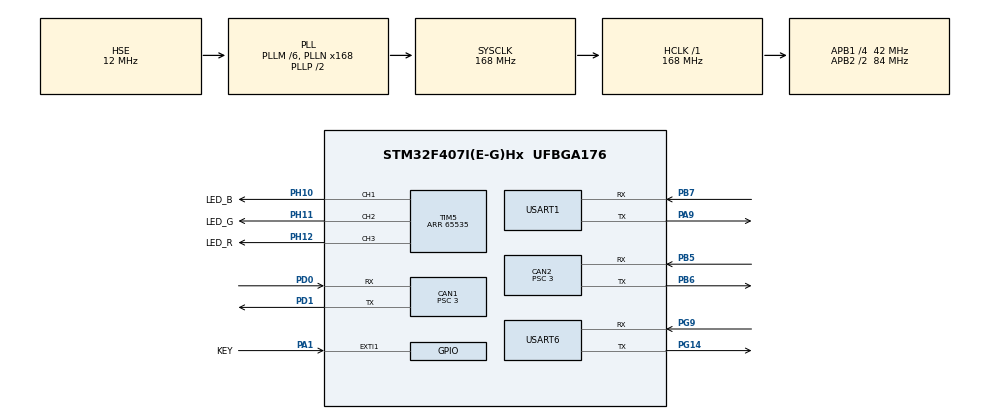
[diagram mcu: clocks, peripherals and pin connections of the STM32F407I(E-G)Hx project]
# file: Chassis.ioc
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CAN1.BS1=CAN_BS1_10TQ
CAN1.BS2=CAN_BS2_3TQ
CAN1.CalculateBaudRate=1000000
CAN1.CalculateTimeBit=1000
CAN1.CalculateTimeQuantum=71.42857142857143
CAN1.Prescaler=3
CAN2.BS1=CAN_BS1_10TQ
CAN2.BS2=CAN_BS2_3TQ
CAN2.CalculateBaudRate=1000000
CAN2.CalculateTimeBit=1000
CAN2.CalculateTimeQuantum=71.42857142857143
CAN2.Prescaler=3
Dma.Request0=USART6_RX
Dma.Request1=USART6_TX
Dma.Request2=USART1_RX
Dma.Request3=USART1_TX
Dma.USART1_RX.2.Direction=DMA_PERIPH_TO_MEMORY
Dma.USART1_RX.2.FIFOMode=DMA_FIFOMODE_DISABLE
Dma.USART1_RX.2.Instance=DMA2_Stream2
Dma.USART1_RX.2.MemDataAlignment=DMA_MDATAALIGN_BYTE
Dma.USART1_RX.2.MemInc=DMA_MINC_ENABLE
Dma.USART1_RX.2.Mode=DMA_NORMAL
Dma.USART1_RX.2.PeriphDataAlignment=DMA_PDATAALIGN_BYTE
Dma.USART1_RX.2.PeriphInc=DMA_PINC_DISABLE
Dma.USART1_RX.2.Priority=DMA_PRIORITY_HIGH
Dma.USART1_TX.3.Direction=DMA_MEMORY_TO_PERIPH
Dma.USART1_TX.3.FIFOMode=DMA_FIFOMODE_DISABLE
Dma.USART1_TX.3.Instance=DMA2_Stream7
Dma.USART1_TX.3.MemDataAlignment=DMA_MDATAALIGN_BYTE
Dma.USART1_TX.3.MemInc=DMA_MINC_ENABLE
Dma.USART1_TX.3.Mode=DMA_NORMAL
Dma.USART1_TX.3.PeriphDataAlignment=DMA_PDATAALIGN_BYTE
Dma.USART1_TX.3.PeriphInc=DMA_PINC_DISABLE
Dma.USART1_TX.3.Priority=DMA_PRIORITY_MEDIUM
Dma.USART6_RX.0.Direction=DMA_PERIPH_TO_MEMORY
Dma.USART6_RX.0.FIFOMode=DMA_FIFOMODE_DISABLE
Dma.USART6_RX.0.Instance=DMA2_Stream1
Dma.USART6_RX.0.MemDataAlignment=DMA_MDATAALIGN_BYTE
Dma.USART6_RX.0.MemInc=DMA_MINC_ENABLE
Dma.USART6_RX.0.Mode=DMA_NORMAL
Dma.USART6_RX.0.PeriphDataAlignment=DMA_PDATAALIGN_BYTE
Dma.USART6_RX.0.PeriphInc=DMA_PINC_DISABLE
Dma.USART6_RX.0.Priority=DMA_PRIORITY_HIGH
Dma.USART6_TX.1.Direction=DMA_MEMORY_TO_PERIPH
Dma.USART6_TX.1.FIFOMode=DMA_FIFOMODE_DISABLE
Dma.USART6_TX.1.Instance=DMA2_Stream6
Dma.USART6_TX.1.MemDataAlignment=DMA_MDATAALIGN_BYTE
Dma.USART6_TX.1.MemInc=DMA_MINC_ENABLE
Dma.USART6_TX.1.Mode=DMA_NORMAL
Dma.USART6_TX.1.PeriphDataAlignment=DMA_PDATAALIGN_BYTE
Dma.USART6_TX.1.PeriphInc=DMA_PINC_DISABLE
Dma.USART6_TX.1.Priority=DMA_PRIORITY_MEDIUM
FREERTOS.Tasks01=defaultTask,0,128,StartDefaultTask,Default,NULL,Dynamic,NULL,NULL
FREERTOS.configTOTAL_HEAP_SIZE=24576
Mcu.Family=STM32F4
Mcu.Name=STM32F407I(E-G)Hx
Mcu.Package=UFBGA176
NVIC.CAN1_RX0_IRQn=true\:5\:0\:false\:false\:true\:true\:true\:true\:true
NVIC.CAN2_RX0_IRQn=true\:5\:0\:false\:false\:true\:true\:true\:true\:true
NVIC.DMA2_Stream1_IRQn=true\:5\:0\:false\:false\:true\:true\:false\:true\:true
NVIC.DMA2_Stream2_IRQn=true\:5\:0\:false\:false\:true\:true\:false\:true\:true
NVIC.DMA2_Stream6_IRQn=true\:5\:0\:false\:false\:true\:true\:false\:true\:true
NVIC.DMA2_Stream7_IRQn=true\:5\:0\:false\:false\:true\:true\:false\:true\:true
NVIC.PriorityGroup=NVIC_PRIORITYGROUP_4
NVIC.USART1_IRQn=true\:6\:0\:true\:false\:true\:true\:true\:true\:true
NVIC.USART6_IRQn=true\:5\:0\:false\:false\:true\:true\:true\:true\:true
PA1.GPIO_Label=KEY
PA1.GPIO_PuPd=GPIO_PULLUP
PA1.Signal=GPXTI1
PA13.Mode=Serial_Wire
PA13.Signal=SYS_JTMS-SWDIO
PA14.Mode=Serial_Wire
PA14.Signal=SYS_JTCK-SWCLK
PA9.Mode=Asynchronous
PA9.Signal=USART1_TX
PB5.Mode=CAN_Activate
PB5.Signal=CAN2_RX
PB6.Mode=CAN_Activate
PB6.Signal=CAN2_TX
PB7.Mode=Asynchronous
PB7.Signal=USART1_RX
PD0.Mode=CAN_Activate
PD0.Signal=CAN1_RX
PD1.Mode=CAN_Activate
PD1.Signal=CAN1_TX
PG14.Mode=Asynchronous
PG14.Signal=USART6_TX
PG9.Mode=Asynchronous
PG9.Signal=USART6_RX
PH0-OSC_IN.Mode=HSE-External-Oscillator
PH0-OSC_IN.Signal=RCC_OSC_IN
PH1-OSC_OUT.Mode=HSE-External-Oscillator
PH1-OSC_OUT.Signal=RCC_OSC_OUT
PH10.GPIO_Label=LED_B
PH10.GPIO_PuPd=GPIO_PULLUP
PH10.GPIO_Speed=GPIO_SPEED_FREQ_HIGH
PH10.Signal=S_TIM5_CH1
PH11.GPIO_Label=LED_G
PH11.GPIO_PuPd=GPIO_PULLUP
PH11.GPIO_Speed=GPIO_SPEED_FREQ_HIGH
PH11.Signal=S_TIM5_CH2
PH12.GPIO_Label=LED_R
PH12.GPIO_PuPd=GPIO_PULLUP
PH12.GPIO_Speed=GPIO_SPEED_FREQ_HIGH
PH12.Signal=S_TIM5_CH3
ProjectManager.HeapSize=0x200
ProjectManager.StackSize=0x400
ProjectManager.TargetToolchain=MDK-ARM V5
RCC.48MHZClocksFreq_Value=84000000
RCC.AHBFreq_Value=168000000
RCC.APB1CLKDivider=RCC_HCLK_DIV4
RCC.APB1Freq_Value=42000000
RCC.APB1TimFreq_Value=84000000
RCC.APB2CLKDivider=RCC_HCLK_DIV2
RCC.APB2Freq_Value=84000000
RCC.APB2TimFreq_Value=168000000
RCC.CortexFreq_Value=168000000
RCC.EnbaleCSS=true
RCC.HCLKFreq_Value=168000000
RCC.HSE_VALUE=12000000
RCC.HSI_VALUE=16000000
RCC.LSE_VALUE=32768
RCC.PLLM=6
RCC.PLLN=168
RCC.PLLSourceVirtual=RCC_PLLSOURCE_HSE
RCC.SYSCLKFreq_VALUE=168000000
RCC.SYSCLKSource=RCC_SYSCLKSOURCE_PLLCLK
RCC.VCOOutputFreq_Value=336000000
SH.S_TIM5_CH1.0=TIM5_CH1,PWM Generation1 CH1
SH.S_TIM5_CH2.0=TIM5_CH2,PWM Generation2 CH2
SH.S_TIM5_CH3.0=TIM5_CH3,PWM Generation3 CH3
TIM5.Channel-PWM\ Generation1\ CH1=TIM_CHANNEL_1
TIM5.Channel-PWM\ Generation2\ CH2=TIM_CHANNEL_2
TIM5.Channel-PWM\ Generation3\ CH3=TIM_CHANNEL_3
TIM5.Period=65535
USART1.VirtualMode=VM_ASYNC
USART6.VirtualMode=VM_ASYNC
VP_FREERTOS_VS_CMSIS_V1.Mode=CMSIS_V1
VP_TIM5_VS_ClockSourceINT.Mode=Internal
board=custom

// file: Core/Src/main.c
/* USER CODE BEGIN Header */
/**
  ******************************************************************************
  * @file           : main.c
  * @brief          : Main program body
  ******************************************************************************
  * @attention
  *
  * Copyright (c) 2024 STMicroelectronics.
  * All rights reserved.
  *
  * This software is licensed under terms that can be found in the LICENSE file
  * in the root directory of this software component.
  * If no LICENSE file comes with this software, it is provided AS-IS.
  *
  ******************************************************************************
  */
/* USER CODE END Header */
#include "main.h"
#include "cmsis_os.h"
#include "can.h"
#include "dma.h"
#include "tim.h"
#include "usart.h"
#include "gpio.h"

void SystemClock_Config(void);
void MX_FREERTOS_Init(void);

int main(void)
{

  /* MCU Configuration--------------------------------------------------------*/

  /* Reset of all peripherals, Initializes the Flash interface and the Systick. */
  HAL_Init();

  /* Configure the system clock */
  SystemClock_Config();

  /* Initialize all configured peripherals */
  MX_GPIO_Init();
  MX_DMA_Init();
  MX_CAN1_Init();
  MX_CAN2_Init();
  MX_USART6_UART_Init();
  MX_USART1_UART_Init();
  MX_TIM5_Init();

  /* Call init function for freertos objects (in freertos.c) */
  MX_FREERTOS_Init();

  /* Start scheduler */
  osKernelStart();

  /* We should never get here as control is now taken by the scheduler */
  /* Infinite loop */
  while (1)
  {

  }
}

void SystemClock_Config(void)
{
  RCC_OscInitTypeDef RCC_OscInitStruct = {0};
  RCC_ClkInitTypeDef RCC_ClkInitStruct = {0};

  /** Configure the main internal regulator output voltage
  */
  __HAL_RCC_PWR_CLK_ENABLE();
  __HAL_PWR_VOLTAGESCALING_CONFIG(PWR_REGULATOR_VOLTAGE_SCALE1);

  /** Initializes the RCC Oscillators according to the specified parameters
  * in the RCC_OscInitTypeDef structure.
  */
  RCC_OscInitStruct.OscillatorType = RCC_OSCILLATORTYPE_HSE;
  RCC_OscInitStruct.HSEState = RCC_HSE_ON;
  RCC_OscInitStruct.PLL.PLLState = RCC_PLL_ON;
  RCC_OscInitStruct.PLL.PLLSource = RCC_PLLSOURCE_HSE;
  RCC_OscInitStruct.PLL.PLLM = 6;
  RCC_OscInitStruct.PLL.PLLN = 168;
  RCC_OscInitStruct.PLL.PLLP = RCC_PLLP_DIV2;
  RCC_OscInitStruct.PLL.PLLQ = 4;
  if (HAL_RCC_OscConfig(&RCC_OscInitStruct) != HAL_OK)
  {
    Error_Handler();
  }

  /** Initializes the CPU, AHB and APB buses clocks
  */
  RCC_ClkInitStruct.ClockType = RCC_CLOCKTYPE_HCLK|RCC_CLOCKTYPE_SYSCLK
                              |RCC_CLOCKTYPE_PCLK1|RCC_CLOCKTYPE_PCLK2;
  RCC_ClkInitStruct.SYSCLKSource = RCC_SYSCLKSOURCE_PLLCLK;
  RCC_ClkInitStruct.AHBCLKDivider = RCC_SYSCLK_DIV1;
  RCC_ClkInitStruct.APB1CLKDivider = RCC_HCLK_DIV4;
  RCC_ClkInitStruct.APB2CLKDivider = RCC_HCLK_DIV2;

  if (HAL_RCC_ClockConfig(&RCC_ClkInitStruct, FLASH_LATENCY_5) != HAL_OK)
  {
    Error_Handler();
  }

  /** Enables the Clock Security System
  */
  HAL_RCC_EnableCSS();
}

void Error_Handler(void)
{
  __disable_irq();
  while (1)
  {
  }
}

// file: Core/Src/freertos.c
/* USER CODE BEGIN Header */
/**
  ******************************************************************************
  * File Name          : freertos.c
  * Description        : Code for freertos applications
  ******************************************************************************
  * @attention
  *
  * Copyright (c) 2024 STMicroelectronics.
  * All rights reserved.
  *
  * This software is licensed under terms that can be found in the LICENSE file
  * in the root directory of this software component.
  * If no LICENSE file comes with this software, it is provided AS-IS.
  *
  ******************************************************************************
  */
/* USER CODE END Header */

#include "FreeRTOS.h"
#include "task.h"
#include "main.h"
#include "cmsis_os.h"

/* USER CODE BEGIN Includes */
#include "chassis_task.h"
#include "LED_task.h"
#include "can_commu_task.h"
#include "superC_task.h"
/* USER CODE END Includes */

/* USER CODE BEGIN Variables */
osThreadId ChassisTaskHandle;
osThreadId CanCommuTaskHandle;
osThreadId SuperCTaskHandle;
osThreadId RefereeTaskHandle;
osThreadId LEDTaskHandle;
/* USER CODE END Variables */

void MX_FREERTOS_Init(void); /* (MISRA C 2004 rule 8.1) */

/* GetIdleTaskMemory prototype (linked to static allocation support) */
void vApplicationGetIdleTaskMemory( StaticTask_t **ppxIdleTaskTCBBuffer, StackType_t **ppxIdleTaskStackBuffer, uint32_t *pulIdleTaskStackSize );

/* USER CODE BEGIN GET_IDLE_TASK_MEMORY */
static StaticTask_t xIdleTaskTCBBuffer;
static StackType_t xIdleStack[configMINIMAL_STACK_SIZE];

void vApplicationGetIdleTaskMemory( StaticTask_t **ppxIdleTaskTCBBuffer, StackType_t **ppxIdleTaskStackBuffer, uint32_t *pulIdleTaskStackSize )
{
  *ppxIdleTaskTCBBuffer = &xIdleTaskTCBBuffer;
  *ppxIdleTaskStackBuffer = &xIdleStack[0];
  *pulIdleTaskStackSize = configMINIMAL_STACK_SIZE;
  /* place for user code */
}
/* USER CODE END GET_IDLE_TASK_MEMORY */

void MX_FREERTOS_Init(void) {

  /* Create the thread(s) */
  /* definition and creation of defaultTask */

  /* USER CODE BEGIN RTOS_THREADS */
  /* add threads, ... */
  osThreadDef(ChassisTask, chassis_task, osPriorityHigh, 0, 1024);
  ChassisTaskHandle = osThreadCreate(osThread(ChassisTask), NULL);

  osThreadDef(CanCommuTask, can_commu_task, osPriorityRealtime, 0, 1024);
  CanCommuTaskHandle = osThreadCreate(osThread(CanCommuTask), NULL);

  osThreadDef(superCTask, superC_task, osPriorityRealtime, 0, 512);
  SuperCTaskHandle = osThreadCreate(osThread(superCTask), NULL);

  osThreadDef(LEDTask, LED_task, osPriorityLow, 0, 128);
  LEDTaskHandle = osThreadCreate(osThread(LEDTask), NULL);

  /* USER CODE END RTOS_THREADS */

}

void StartDefaultTask(void const * argument)
{
  for(;;)
  {
    osDelay(1);
  }
}
